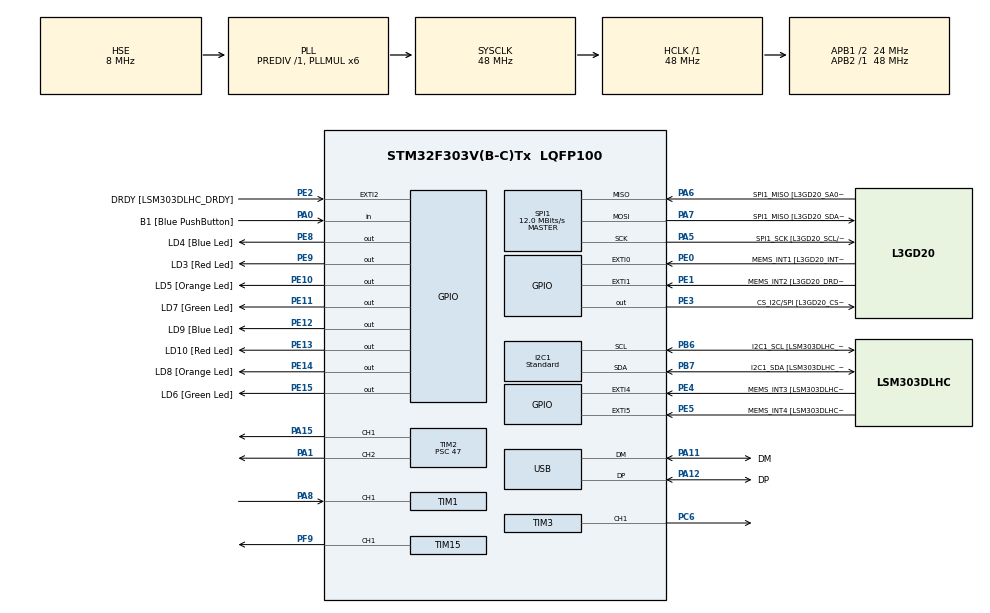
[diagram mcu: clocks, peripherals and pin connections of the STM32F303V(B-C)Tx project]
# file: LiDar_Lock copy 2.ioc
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I2C1.I2C_Speed_Mode=I2C_Standard
I2C1.Speed=100
I2C1.Timing-I2C=0x2000090E
Mcu.Family=STM32F3
Mcu.Name=STM32F303V(B-C)Tx
Mcu.Package=LQFP100
NVIC.PriorityGroup=NVIC_PRIORITYGROUP_0
NVIC.TIM1_CC_IRQn=true\:0\:0\:false\:false\:true\:true\:true\:true
NVIC.TIM2_IRQn=true\:0\:0\:false\:false\:true\:true\:true\:true
PA0.GPIO_Label=B1 [Blue PushButton]
PA0.Signal=GPIO_Input
PA1.Signal=S_TIM2_CH2
PA11.GPIO_Label=DM
PA11.Mode=Device
PA11.Signal=USB_DM
PA12.GPIO_Label=DP
PA12.Mode=Device
PA12.Signal=USB_DP
PA13.GPIO_Label=SWDIO
PA13.Mode=Serial_Wire
PA13.Signal=SYS_JTMS-SWDIO
PA14.GPIO_Label=SWCLK
PA14.Mode=Serial_Wire
PA14.Signal=SYS_JTCK-SWCLK
PA15.Signal=S_TIM2_CH1_ETR
PA5.GPIO_Label=SPI1_SCK [L3GD20_SCL/SPC]
PA5.Mode=Full_Duplex_Master
PA5.Signal=SPI1_SCK
PA6.GPIO_Label=SPI1_MISO [L3GD20_SA0/SDO]
PA6.Mode=Full_Duplex_Master
PA6.Signal=SPI1_MISO
PA7.GPIO_Label=SPI1_MISO [L3GD20_SDA/SDI/SDO]
PA7.Mode=Full_Duplex_Master
PA7.Signal=SPI1_MOSI
PA8.Signal=S_TIM1_CH1
PB3.GPIO_Label=SWO
PB3.Signal=SYS_JTDO-TRACESWO
PB6.GPIO_Label=I2C1_SCL [LSM303DLHC_SCL]
PB6.GPIO_Pu=GPIO_PULLUP
PB6.Mode=I2C
PB6.Signal=I2C1_SCL
PB7.GPIO_Label=I2C1_SDA [LSM303DLHC_SDA]
PB7.GPIO_Pu=GPIO_PULLUP
PB7.Mode=I2C
PB7.Signal=I2C1_SDA
PC14-OSC32_IN.GPIO_Label=OSC32_IN
PC14-OSC32_IN.Signal=RCC_OSC32_IN
PC15-OSC32_OUT.GPIO_Label=OSC32_OUT
PC15-OSC32_OUT.Signal=RCC_OSC32_OUT
PC6.Signal=S_TIM3_CH1
PE0.GPIO_Label=MEMS_INT1 [L3GD20_INT1]
PE0.GPIO_ModeDefaultEXTI=GPIO_MODE_EVT_RISING
PE0.Signal=GPXTI0
PE1.GPIO_Label=MEMS_INT2 [L3GD20_DRDY/INT2]
PE1.GPIO_ModeDefaultEXTI=GPIO_MODE_EVT_RISING
PE1.Signal=GPXTI1
PE10.GPIO_Label=LD5 [Orange Led]
PE10.Signal=GPIO_Output
PE11.GPIO_Label=LD7 [Green Led]
PE11.Signal=GPIO_Output
PE12.GPIO_Label=LD9 [Blue Led]
PE12.Signal=GPIO_Output
PE13.GPIO_Label=LD10 [Red Led]
PE13.Signal=GPIO_Output
PE14.GPIO_Label=LD8 [Orange Led]
PE14.Signal=GPIO_Output
PE15.GPIO_Label=LD6 [Green Led]
PE15.Signal=GPIO_Output
PE2.GPIO_Label=DRDY [LSM303DLHC_DRDY]
PE2.GPIO_ModeDefaultEXTI=GPIO_MODE_EVT_RISING
PE2.Signal=GPXTI2
PE3.GPIO_Label=CS_I2C/SPI [L3GD20_CS_I2C/SPI]
PE3.Signal=GPIO_Output
PE4.GPIO_Label=MEMS_INT3 [LSM303DLHC_INT1]
PE4.GPIO_ModeDefaultEXTI=GPIO_MODE_EVT_RISING
PE4.Signal=GPXTI4
PE5.GPIO_Label=MEMS_INT4 [LSM303DLHC_INT2]
PE5.GPIO_ModeDefaultEXTI=GPIO_MODE_EVT_RISING
PE5.Signal=GPXTI5
PE8.GPIO_Label=LD4 [Blue Led]
PE8.Signal=GPIO_Output
PE9.GPIO_Label=LD3 [Red Led]
PE9.Signal=GPIO_Output
PF0-OSC_IN.GPIO_Label=OSC_IN
PF0-OSC_IN.Mode=HSE-External-Clock-Source
PF0-OSC_IN.Signal=RCC_OSC_IN
PF1-OSC_OUT.GPIO_Label=OSC_OUT
PF1-OSC_OUT.Signal=RCC_OSC_OUT
PF9.Signal=S_TIM15_CH1
ProjectManager.HeapSize=0x200
ProjectManager.StackSize=0x400
ProjectManager.TargetToolchain=STM32CubeIDE
RCC.AHBFreq_Value=48000000
RCC.APB1CLKDivider=RCC_HCLK_DIV2
RCC.APB1Freq_Value=24000000
RCC.APB1TimFreq_Value=48000000
RCC.APB2Freq_Value=48000000
RCC.APB2TimFreq_Value=48000000
RCC.CortexFreq_Value=48000000
RCC.HCLKFreq_Value=48000000
RCC.HSE_VALUE=8000000
RCC.HSI_VALUE=8000000
RCC.LSE_VALUE=32768
RCC.PLLMUL=RCC_PLL_MUL6
RCC.SYSCLKFreq_VALUE=48000000
RCC.SYSCLKSourceVirtual=RCC_SYSCLKSOURCE_PLLCLK
RCC.USBFreq_Value=48000000
SH.S_TIM15_CH1.0=TIM15_CH1,Output Compare1 CH1
SH.S_TIM1_CH1.0=TIM1_CH1,Input_Capture1_from_TI1
SH.S_TIM2_CH1_ETR.0=TIM2_CH1,PWM Generation1 CH1
SH.S_TIM2_CH2.0=TIM2_CH2,PWM Generation2 CH2
SH.S_TIM3_CH1.0=TIM3_CH1,Output Compare1 CH1
SPI1.BaudRatePrescaler=SPI_BAUDRATEPRESCALER_4
SPI1.BaudRatePrescaler-Full_Duplex_Master=SPI_BAUDRATEPRESCALER_2
SPI1.CalculateBaudRate=12.0 MBits/s
SPI1.CalculateBaudRate-Full_Duplex_Master=24.0 MBits/s
SPI1.Direction=SPI_DIRECTION_2LINES
SPI1.Mode=SPI_MODE_MASTER
SPI1.Mode-Full_Duplex_Master=SPI_MODE_MASTER
SPI1.VirtualType=VM_MASTER
TIM1.Channel-Input_Capture1_from_TI1=TIM_CHANNEL_1
TIM1.ICPolarity_CH1=TIM_INPUTCHANNELPOLARITY_BOTHEDGE
TIM1.Prescaler=47
TIM15.Channel-Output\ Compare1\ CH1=TIM_CHANNEL_1
TIM15.Period=9999
TIM15.Prescaler=47999
TIM2.AutoReloadPreload=TIM_AUTORELOAD_PRELOAD_ENABLE
TIM2.Channel-PWM\ Generation1\ CH1=TIM_CHANNEL_1
TIM2.Channel-PWM\ Generation2\ CH2=TIM_CHANNEL_2
TIM2.Period=20000
TIM2.Prescaler=47
TIM2.Pulse-PWM\ Generation1\ CH1=2000
TIM2.Pulse-PWM\ Generation2\ CH2=2000
TIM3.Channel-Output\ Compare1\ CH1=TIM_CHANNEL_1
TIM3.OCMode_1=TIM_OCMODE_TOGGLE
TIM3.Period=3000
TIM3.Prescaler=48000
VP_TIM15_VS_ClockSourceINT.Mode=Internal
VP_TIM1_VS_ClockSourceINT.Mode=Internal
VP_TIM3_VS_ClockSourceINT.Mode=Internal
board=STM32F3DISCOVERY

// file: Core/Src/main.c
/* USER CODE BEGIN Header */
/**
 ******************************************************************************
 * @file           : main.c
 * @brief          : Main program body
 ******************************************************************************
 * @attention
 *
 * Copyright (c) 2023 STMicroelectronics.
 * All rights reserved.
 *
 * This software is licensed under terms that can be found in the LICENSE file
 * in the root directory of this software component.
 * If no LICENSE file comes with this software, it is provided AS-IS.
 *
 ******************************************************************************
 */
/* USER CODE END Header */
#include "main.h"

/* USER CODE BEGIN Includes */

#include "ptu_definitions.h"
#include "ptu_i2c.h"
#include "serial.h"

#include "math.h"

#include "timer.h"
#include "last_period.h"
#include "movement.h"
#include <time.h>
#include <stdio.h>
#include "lock.h"

/* USER CODE END Includes */

I2C_HandleTypeDef hi2c1;

SPI_HandleTypeDef hspi1;

TIM_HandleTypeDef htim1;
TIM_HandleTypeDef htim2;
TIM_HandleTypeDef htim3;
TIM_HandleTypeDef htim15;

PCD_HandleTypeDef hpcd_USB_FS;

int x = 1;

/* USER CODE BEGIN PV */
uint8_t *led_register = ((uint8_t*)&(GPIOE->ODR)) + 1;
/* USER CODE END PV */

void SystemClock_Config(void);
static void MX_GPIO_Init(void);
static void MX_I2C1_Init(void);
static void MX_SPI1_Init(void);
static void MX_USB_PCD_Init(void);
static void MX_TIM2_Init(void);
static void MX_TIM1_Init(void);
static void MX_TIM3_Init(void);
static void MX_TIM15_Init(void);

/* USER CODE BEGIN 0 */

// enable the clocks for desired peripherals (GPIOA, C and E)
void enable_clocks() {
	RCC->AHBENR |= RCC_AHBENR_GPIOAEN | RCC_AHBENR_GPIOCEN | RCC_AHBENR_GPIOEEN;
}

// initialise the discovery board I/O (just outputs: inputs are selected by default)
void initialise_board() {
	// get a pointer to the second half word of the MODER register (for outputs pe8-15)
	uint16_t *led_output_registers = ((uint16_t *)&(GPIOE->MODER)) + 1;
	*led_output_registers = 0x5555;
}

uint16_t last_capture = 0;
uint16_t diff = 0;

uint16_t rise_time = 0;
uint16_t last_period = 0;

int16_t lidar_distance = 0;
uint16_t lidar_ranges = 0;
int16_t roll_rate = 0;
int16_t pitch_rate = 0;
int16_t yaw_rate = 0;

void HAL_TIM_IC_CaptureCallback(TIM_HandleTypeDef *htim);

void movement(float v[2], float yaw, float pitch);

int y = 1;
int highfive;

void lock1(int *y);
void lock2(int *y);
void lock3(int *y);

volatile uint8_t delayComplete = 0;

TIM_HandleTypeDef htim; // Declare your timer handle
uint32_t pwmCaptureValue; // Variable to store the captured PWM value

// Function to read PWM input capture value
void readPWMInputCapture()
{
    pwmCaptureValue = HAL_TIM_ReadCapturedValue(&htim, TIM_CHANNEL_1); // Replace X with the appropriate channel number
}

/* USER CODE END 0 */

int main(void)
{
  /* USER CODE BEGIN 1 */

	uint8_t string_to_send[100] = "This is a string !\r\n";

	enable_clocks();
	initialise_board();

	SerialInitialise(BAUD_115200, &USART1_PORT, 0x00);

	HAL_StatusTypeDef return_value = 0x00;

	volatile uint16_t vertical_PWM = 1000;
	volatile uint16_t horizontal_PWM = 1000;

  /* USER CODE END 1 */

  /* MCU Configuration--------------------------------------------------------*/

  /* Reset of all peripherals, Initializes the Flash interface and the Systick. */
  HAL_Init();

  /* Configure the system clock */
  SystemClock_Config();

  /* Initialize all configured peripherals */
  MX_GPIO_Init();
  MX_I2C1_Init();
  MX_SPI1_Init();
  MX_USB_PCD_Init();
  MX_TIM2_Init();
  MX_TIM1_Init();
  MX_TIM3_Init();
  MX_TIM15_Init();
  /* USER CODE BEGIN 2 */

  //Timers are started

	HAL_TIM_PWM_Start(&htim2, TIM_CHANNEL_1);
	HAL_TIM_PWM_Start(&htim2, TIM_CHANNEL_2);

	HAL_TIM_IC_Start_IT(&htim1, TIM_CHANNEL_1);

    HAL_TIM_OC_Start_IT(&htim3, TIM_CHANNEL_1);
    HAL_TIM_OC_Start_IT(&htim15, TIM_CHANNEL_1);

	// TIM 2 is setup with a prescaler that makes 1 count = 1 microsecond
	// Even with HAL, you can still set the values yourself
	TIM2->ARR = 20000; // 20000 = 20ms, which is the desired clock period for servos
	TIM2->CR1 |= TIM_CR1_ARPE; // this makes the timing not change until the next pulse is finished

	// note: for PWM if you continually change the clock period
	// you can get unexpected results. To remove this, set ARPE so that the
	// ARR settings are not activated until the next cycle.

	initialise_ptu_i2c(&hi2c1);

  /* USER CODE END 2 */

  /* Infinite loop */
  /* USER CODE BEGIN WHILE */

//	// reset lidar board
//	uint8_t reset_value = 0x00;
//	return_value = HAL_I2C_Mem_Write(&hi2c1, LIDAR_WR, 0x00, 1, &reset_value, 1, 10);

	// delay for initialisation of the lidar
	HAL_Delay(100);

	while (1)
	{
//
		movement(v, 96, 98);
		HAL_Delay(500);

		//Reading gyro values from imu using i2c
		uint8_t xMSB = 0x00;
		HAL_I2C_Mem_Read(&hi2c1,gyro_rd, 0x29, 1, &xMSB, 1, 10);
		uint8_t xLSB = 0x00;
		HAL_I2C_Mem_Read(&hi2c1,gyro_rd, 0x28, 1, &xLSB, 1, 10);

		int16_t yaw_rate = ((xMSB << 8) | xLSB);

		uint8_t yMSB = 0x00;
		HAL_I2C_Mem_Read(&hi2c1,gyro_rd, 0x2B, 1, &yMSB, 1, 10);
		uint8_t yLSB = 0x00;
		HAL_I2C_Mem_Read(&hi2c1,gyro_rd, 0x2A, 1, &yLSB, 1, 10);

		int16_t pitch_rate = ((yMSB << 8) | yLSB);

		uint8_t zMSB = 0x00;
		HAL_I2C_Mem_Read(&hi2c1,gyro_rd, 0x2D, 1, &zMSB, 1, 10);
		uint8_t zLSB = 0x00;
		HAL_I2C_Mem_Read(&hi2c1,gyro_rd, 0x2C, 1, &zLSB, 1, 10);

		int16_t roll_rate = ((zMSB << 8) | zLSB);

		volatile int read_values_now = 0;

		//Last_period values are limited to 4000. If last_period is above 4000 then it is then set to 5000.
		if (last_period > 4000)
			last_period = 5000;
		if (lidar_distance > 4000)
			lidar_distance = 5500;

		sprintf(string_to_send, "%u,%hd,%hd,%hd\r\n", last_period,roll_rate, pitch_rate, yaw_rate);
		SerialOutputString(string_to_send, &USART1_PORT);

		//constant value is set so that the comparison value doesn't change
		const uint32_t time = TIM3->CNT;

		int x = 0;

		/*The while reads for a high five. In which case the high five from the user has to be at a last period distance of 5 to 250
		 * the threshold is set because there was noise within the last period values
		 */
		while (last_period >= 5 && last_period <= 250)
		{
			//using an output compare to know when a 3 second high five has been performed
			uint32_t delayCounts = 3000; // Assuming timer counts at 1 kHz
			uint32_t targetCount = time + delayCounts;

			/*A target and is then manipulate to stay within the auto-reload. Hence the auto reload is subtracted from the target count
			 * an addition 0.5 is subtracted to ensure the target count is less than the auto-reload*/
			if (targetCount > TIM3->ARR)
			{
				targetCount = targetCount - (TIM3->ARR+0.5);
			}

			//an led time is set so the 8 LED lights light up at equal timesteps
			//

			int LED_time = time + (delayCounts/8)*x;
			if (LED_time >  TIM3->ARR)
			{
				LED_time = LED_time - (TIM3->ARR+0.5);
			}

			//Led's light up in a circle. Like a circle of death
			if (TIM3->CNT == LED_time)
			{
				*led_register |= (0b00000001 << x);   // Set the bit corresponding to LED x
				x++;
			}

			//if statement runs when the hand is held for three seconds
		    if(TIM3->CNT == targetCount)
		    {
				const uint32_t lock_timer = TIM15->CNT;

				//while loops only runs if all three locks haven't been completed
		    	while (y != 4)
		    	{
					uint32_t lock_delay = 10000;
					uint32_t lock_target = lock_timer + lock_delay; //comparison value

					if (lock_target > TIM15->ARR +1)
					{
						lock_target = lock_target - (TIM15->ARR+1.5);
					}
					*led_register = 0;

					/*the user must enter the specific range corresponding to the distance set in each lock.
					 * The user only has a maximum of 10 seconds to place an object within the lidar sensor in total for all
					 * locks or else the program will return to the first lock ('else' statement)*/
					if (TIM15->CNT != lock_target)
					{
						if (y == 1) {
							sprintf(string_to_send,"%u,%u\r\n",TIM15->CNT,lock_target);
							SerialOutputString(string_to_send, &USART1_PORT);
							lock1(&y);
						}
						else if (y == 2) {
							sprintf(string_to_send,"%u,%u\r\n",TIM15->CNT,lock_target);
							SerialOutputString(string_to_send, &USART1_PORT);
							lock2(&y);
						}
						else if (y==3)
						{
							sprintf(string_to_send,"%u,%u,%u\r\n",TIM15->CNT,lock_target,last_period);
							SerialOutputString(string_to_send, &USART1_PORT);
							lock3(&y);
						}

					}
					//
					else
					{
						*led_register = 0b01010101;
						HAL_Delay(1000);
						movement(v, 180, 98);
						HAL_Delay(1000);
						movement(v, 96, 98);
						HAL_Delay(1000);
						y= 1;
						break;
					}
		    	}
		    }
	    }
		*led_register = 0;

	}

    /* USER CODE END WHILE */

}

void SystemClock_Config(void)
{
  RCC_OscInitTypeDef RCC_OscInitStruct = {0};
  RCC_ClkInitTypeDef RCC_ClkInitStruct = {0};
  RCC_PeriphCLKInitTypeDef PeriphClkInit = {0};

  /** Initializes the RCC Oscillators according to the specified parameters
  * in the RCC_OscInitTypeDef structure.
  */
  RCC_OscInitStruct.OscillatorType = RCC_OSCILLATORTYPE_HSI|RCC_OSCILLATORTYPE_HSE;
  RCC_OscInitStruct.HSEState = RCC_HSE_BYPASS;
  RCC_OscInitStruct.HSEPredivValue = RCC_HSE_PREDIV_DIV1;
  RCC_OscInitStruct.HSIState = RCC_HSI_ON;
  RCC_OscInitStruct.HSICalibrationValue = RCC_HSICALIBRATION_DEFAULT;
  RCC_OscInitStruct.PLL.PLLState = RCC_PLL_ON;
  RCC_OscInitStruct.PLL.PLLSource = RCC_PLLSOURCE_HSE;
  RCC_OscInitStruct.PLL.PLLMUL = RCC_PLL_MUL6;
  if (HAL_RCC_OscConfig(&RCC_OscInitStruct) != HAL_OK)
  {
    Error_Handler();
  }

  /** Initializes the CPU, AHB and APB buses clocks
  */
  RCC_ClkInitStruct.ClockType = RCC_CLOCKTYPE_HCLK|RCC_CLOCKTYPE_SYSCLK
                              |RCC_CLOCKTYPE_PCLK1|RCC_CLOCKTYPE_PCLK2;
  RCC_ClkInitStruct.SYSCLKSource = RCC_SYSCLKSOURCE_PLLCLK;
  RCC_ClkInitStruct.AHBCLKDivider = RCC_SYSCLK_DIV1;
  RCC_ClkInitStruct.APB1CLKDivider = RCC_HCLK_DIV2;
  RCC_ClkInitStruct.APB2CLKDivider = RCC_HCLK_DIV1;

  if (HAL_RCC_ClockConfig(&RCC_ClkInitStruct, FLASH_LATENCY_1) != HAL_OK)
  {
    Error_Handler();
  }
  PeriphClkInit.PeriphClockSelection = RCC_PERIPHCLK_USB|RCC_PERIPHCLK_I2C1
                              |RCC_PERIPHCLK_TIM1;
  PeriphClkInit.I2c1ClockSelection = RCC_I2C1CLKSOURCE_HSI;
  PeriphClkInit.USBClockSelection = RCC_USBCLKSOURCE_PLL;
  PeriphClkInit.Tim1ClockSelection = RCC_TIM1CLK_HCLK;
  if (HAL_RCCEx_PeriphCLKConfig(&PeriphClkInit) != HAL_OK)
  {
    Error_Handler();
  }
}

static void MX_I2C1_Init(void)
{

  hi2c1.Instance = I2C1;
  hi2c1.Init.Timing = 0x2000090E;
  hi2c1.Init.OwnAddress1 = 0;
  hi2c1.Init.AddressingMode = I2C_ADDRESSINGMODE_7BIT;
  hi2c1.Init.DualAddressMode = I2C_DUALADDRESS_DISABLE;
  hi2c1.Init.OwnAddress2 = 0;
  hi2c1.Init.OwnAddress2Masks = I2C_OA2_NOMASK;
  hi2c1.Init.GeneralCallMode = I2C_GENERALCALL_DISABLE;
  hi2c1.Init.NoStretchMode = I2C_NOSTRETCH_DISABLE;
  if (HAL_I2C_Init(&hi2c1) != HAL_OK)
  {
    Error_Handler();
  }

  /** Configure Analogue filter
  */
  if (HAL_I2CEx_ConfigAnalogFilter(&hi2c1, I2C_ANALOGFILTER_ENABLE) != HAL_OK)
  {
    Error_Handler();
  }

  /** Configure Digital filter
  */
  if (HAL_I2CEx_ConfigDigitalFilter(&hi2c1, 0) != HAL_OK)
  {
    Error_Handler();
  }

}

static void MX_SPI1_Init(void)
{

  /* SPI1 parameter configuration*/
  hspi1.Instance = SPI1;
  hspi1.Init.Mode = SPI_MODE_MASTER;
  hspi1.Init.Direction = SPI_DIRECTION_2LINES;
  hspi1.Init.DataSize = SPI_DATASIZE_4BIT;
  hspi1.Init.CLKPolarity = SPI_POLARITY_LOW;
  hspi1.Init.CLKPhase = SPI_PHASE_1EDGE;
  hspi1.Init.NSS = SPI_NSS_SOFT;
  hspi1.Init.BaudRatePrescaler = SPI_BAUDRATEPRESCALER_4;
  hspi1.Init.FirstBit = SPI_FIRSTBIT_MSB;
  hspi1.Init.TIMode = SPI_TIMODE_DISABLE;
  hspi1.Init.CRCCalculation = SPI_CRCCALCULATION_DISABLE;
  hspi1.Init.CRCPolynomial = 7;
  hspi1.Init.CRCLength = SPI_CRC_LENGTH_DATASIZE;
  hspi1.Init.NSSPMode = SPI_NSS_PULSE_ENABLE;
  if (HAL_SPI_Init(&hspi1) != HAL_OK)
  {
    Error_Handler();
  }

}

static void MX_TIM1_Init(void)
{

  TIM_ClockConfigTypeDef sClockSourceConfig = {0};
  TIM_MasterConfigTypeDef sMasterConfig = {0};
  TIM_IC_InitTypeDef sConfigIC = {0};

  htim1.Instance = TIM1;
  htim1.Init.Prescaler = 47;
  htim1.Init.CounterMode = TIM_COUNTERMODE_UP;
  htim1.Init.Period = 65535;
  htim1.Init.ClockDivision = TIM_CLOCKDIVISION_DIV1;
  htim1.Init.RepetitionCounter = 0;
  htim1.Init.AutoReloadPreload = TIM_AUTORELOAD_PRELOAD_DISABLE;
  if (HAL_TIM_Base_Init(&htim1) != HAL_OK)
  {
    Error_Handler();
  }
  sClockSourceConfig.ClockSource = TIM_CLOCKSOURCE_INTERNAL;
  if (HAL_TIM_ConfigClockSource(&htim1, &sClockSourceConfig) != HAL_OK)
  {
    Error_Handler();
  }
  if (HAL_TIM_IC_Init(&htim1) != HAL_OK)
  {
    Error_Handler();
  }
  sMasterConfig.MasterOutputTrigger = TIM_TRGO_RESET;
  sMasterConfig.MasterOutputTrigger2 = TIM_TRGO2_RESET;
  sMasterConfig.MasterSlaveMode = TIM_MASTERSLAVEMODE_DISABLE;
  if (HAL_TIMEx_MasterConfigSynchronization(&htim1, &sMasterConfig) != HAL_OK)
  {
    Error_Handler();
  }
  sConfigIC.ICPolarity = TIM_INPUTCHANNELPOLARITY_BOTHEDGE;
  sConfigIC.ICSelection = TIM_ICSELECTION_DIRECTTI;
  sConfigIC.ICPrescaler = TIM_ICPSC_DIV1;
  sConfigIC.ICFilter = 0;
  if (HAL_TIM_IC_ConfigChannel(&htim1, &sConfigIC, TIM_CHANNEL_1) != HAL_OK)
  {
    Error_Handler();
  }

}

static void MX_TIM2_Init(void)
{

  TIM_MasterConfigTypeDef sMasterConfig = {0};
  TIM_OC_InitTypeDef sConfigOC = {0};

  htim2.Instance = TIM2;
  htim2.Init.Prescaler = 47;
  htim2.Init.CounterMode = TIM_COUNTERMODE_UP;
  htim2.Init.Period = 20000;
  htim2.Init.ClockDivision = TIM_CLOCKDIVISION_DIV1;
  htim2.Init.AutoReloadPreload = TIM_AUTORELOAD_PRELOAD_ENABLE;
  if (HAL_TIM_PWM_Init(&htim2) != HAL_OK)
  {
    Error_Handler();
  }
  sMasterConfig.MasterOutputTrigger = TIM_TRGO_RESET;
  sMasterConfig.MasterSlaveMode = TIM_MASTERSLAVEMODE_DISABLE;
  if (HAL_TIMEx_MasterConfigSynchronization(&htim2, &sMasterConfig) != HAL_OK)
  {
    Error_Handler();
  }
  sConfigOC.OCMode = TIM_OCMODE_PWM1;
  sConfigOC.Pulse = 2000;
  sConfigOC.OCPolarity = TIM_OCPOLARITY_HIGH;
  sConfigOC.OCFastMode = TIM_OCFAST_DISABLE;
  if (HAL_TIM_PWM_ConfigChannel(&htim2, &sConfigOC, TIM_CHANNEL_1) != HAL_OK)
  {
    Error_Handler();
  }
  if (HAL_TIM_PWM_ConfigChannel(&htim2, &sConfigOC, TIM_CHANNEL_2) != HAL_OK)
  {
    Error_Handler();
  }
  HAL_TIM_MspPostInit(&htim2);

}

static void MX_TIM3_Init(void)
{

  TIM_ClockConfigTypeDef sClockSourceConfig = {0};
  TIM_MasterConfigTypeDef sMasterConfig = {0};
  TIM_OC_InitTypeDef sConfigOC = {0};

  htim3.Instance = TIM3;
  htim3.Init.Prescaler = 48000;
  htim3.Init.CounterMode = TIM_COUNTERMODE_UP;
  htim3.Init.Period = 3000;
  htim3.Init.ClockDivision = TIM_CLOCKDIVISION_DIV1;
  htim3.Init.AutoReloadPreload = TIM_AUTORELOAD_PRELOAD_DISABLE;
  if (HAL_TIM_Base_Init(&htim3) != HAL_OK)
  {
    Error_Handler();
  }
  sClockSourceConfig.ClockSource = TIM_CLOCKSOURCE_INTERNAL;
  if (HAL_TIM_ConfigClockSource(&htim3, &sClockSourceConfig) != HAL_OK)
  {
    Error_Handler();
  }
  if (HAL_TIM_OC_Init(&htim3) != HAL_OK)
  {
    Error_Handler();
  }
  sMasterConfig.MasterOutputTrigger = TIM_TRGO_RESET;
  sMasterConfig.MasterSlaveMode = TIM_MASTERSLAVEMODE_DISABLE;
  if (HAL_TIMEx_MasterConfigSynchronization(&htim3, &sMasterConfig) != HAL_OK)
  {
    Error_Handler();
  }
  sConfigOC.OCMode = TIM_OCMODE_TOGGLE;
  sConfigOC.Pulse = 0;
  sConfigOC.OCPolarity = TIM_OCPOLARITY_HIGH;
  sConfigOC.OCFastMode = TIM_OCFAST_DISABLE;
  if (HAL_TIM_OC_ConfigChannel(&htim3, &sConfigOC, TIM_CHANNEL_1) != HAL_OK)
  {
    Error_Handler();
  }
  HAL_TIM_MspPostInit(&htim3);

}

static void MX_TIM15_Init(void)
{

  TIM_ClockConfigTypeDef sClockSourceConfig = {0};
  TIM_MasterConfigTypeDef sMasterConfig = {0};
  TIM_OC_InitTypeDef sConfigOC = {0};
  TIM_BreakDeadTimeConfigTypeDef sBreakDeadTimeConfig = {0};

  htim15.Instance = TIM15;
  htim15.Init.Prescaler = 47999;
  htim15.Init.CounterMode = TIM_COUNTERMODE_UP;
  htim15.Init.Period = 9999;
  htim15.Init.ClockDivision = TIM_CLOCKDIVISION_DIV1;
  htim15.Init.RepetitionCounter = 0;
  htim15.Init.AutoReloadPreload = TIM_AUTORELOAD_PRELOAD_DISABLE;
  if (HAL_TIM_Base_Init(&htim15) != HAL_OK)
  {
    Error_Handler();
  }
  sClockSourceConfig.ClockSource = TIM_CLOCKSOURCE_INTERNAL;
  if (HAL_TIM_ConfigClockSource(&htim15, &sClockSourceConfig) != HAL_OK)
  {
    Error_Handler();
  }
  if (HAL_TIM_OC_Init(&htim15) != HAL_OK)
  {
    Error_Handler();
  }
  sMasterConfig.MasterOutputTrigger = TIM_TRGO_RESET;
  sMasterConfig.MasterSlaveMode = TIM_MASTERSLAVEMODE_DISABLE;
  if (HAL_TIMEx_MasterConfigSynchronization(&htim15, &sMasterConfig) != HAL_OK)
  {
    Error_Handler();
  }
  sConfigOC.OCMode = TIM_OCMODE_TIMING;
  sConfigOC.Pulse = 0;
  sConfigOC.OCPolarity = TIM_OCPOLARITY_HIGH;
  sConfigOC.OCNPolarity = TIM_OCNPOLARITY_HIGH;
  sConfigOC.OCFastMode = TIM_OCFAST_DISABLE;
  sConfigOC.OCIdleState = TIM_OCIDLESTATE_RESET;
  sConfigOC.OCNIdleState = TIM_OCNIDLESTATE_RESET;
  if (HAL_TIM_OC_ConfigChannel(&htim15, &sConfigOC, TIM_CHANNEL_1) != HAL_OK)
  {
    Error_Handler();
  }
  sBreakDeadTimeConfig.OffStateRunMode = TIM_OSSR_DISABLE;
  sBreakDeadTimeConfig.OffStateIDLEMode = TIM_OSSI_DISABLE;
  sBreakDeadTimeConfig.LockLevel = TIM_LOCKLEVEL_OFF;
  sBreakDeadTimeConfig.DeadTime = 0;
  sBreakDeadTimeConfig.BreakState = TIM_BREAK_DISABLE;
  sBreakDeadTimeConfig.BreakPolarity = TIM_BREAKPOLARITY_HIGH;
  sBreakDeadTimeConfig.BreakFilter = 0;
  sBreakDeadTimeConfig.AutomaticOutput = TIM_AUTOMATICOUTPUT_DISABLE;
  if (HAL_TIMEx_ConfigBreakDeadTime(&htim15, &sBreakDeadTimeConfig) != HAL_OK)
  {
    Error_Handler();
  }
  HAL_TIM_MspPostInit(&htim15);

}

static void MX_USB_PCD_Init(void)
{

  hpcd_USB_FS.Instance = USB;
  hpcd_USB_FS.Init.dev_endpoints = 8;
  hpcd_USB_FS.Init.speed = PCD_SPEED_FULL;
  hpcd_USB_FS.Init.phy_itface = PCD_PHY_EMBEDDED;
  hpcd_USB_FS.Init.low_power_enable = DISABLE;
  hpcd_USB_FS.Init.battery_charging_enable = DISABLE;
  if (HAL_PCD_Init(&hpcd_USB_FS) != HAL_OK)
  {
    Error_Handler();
  }

}

static void MX_GPIO_Init(void)
{
  GPIO_InitTypeDef GPIO_InitStruct = {0};

  /* GPIO Ports Clock Enable */
  __HAL_RCC_GPIOE_CLK_ENABLE();
  __HAL_RCC_GPIOC_CLK_ENABLE();
  __HAL_RCC_GPIOF_CLK_ENABLE();
  __HAL_RCC_GPIOA_CLK_ENABLE();
  __HAL_RCC_GPIOB_CLK_ENABLE();

  /*Configure GPIO pin Output Level */
  HAL_GPIO_WritePin(GPIOE, CS_I2C_SPI_Pin|LD4_Pin|LD3_Pin|LD5_Pin
                          |LD7_Pin|LD9_Pin|LD10_Pin|LD8_Pin
                          |LD6_Pin, GPIO_PIN_RESET);

  /*Configure GPIO pins : DRDY_Pin MEMS_INT3_Pin MEMS_INT4_Pin MEMS_INT1_Pin
                           MEMS_INT2_Pin */
  GPIO_InitStruct.Pin = DRDY_Pin|MEMS_INT3_Pin|MEMS_INT4_Pin|MEMS_INT1_Pin
                          |MEMS_INT2_Pin;
  GPIO_InitStruct.Mode = GPIO_MODE_EVT_RISING;
  GPIO_InitStruct.Pull = GPIO_NOPULL;
  HAL_GPIO_Init(GPIOE, &GPIO_InitStruct);

  /*Configure GPIO pins : CS_I2C_SPI_Pin LD4_Pin LD3_Pin LD5_Pin
                           LD7_Pin LD9_Pin LD10_Pin LD8_Pin
                           LD6_Pin */
  GPIO_InitStruct.Pin = CS_I2C_SPI_Pin|LD4_Pin|LD3_Pin|LD5_Pin
                          |LD7_Pin|LD9_Pin|LD10_Pin|LD8_Pin
                          |LD6_Pin;
  GPIO_InitStruct.Mode = GPIO_MODE_OUTPUT_PP;
  GPIO_InitStruct.Pull = GPIO_NOPULL;
  GPIO_InitStruct.Speed = GPIO_SPEED_FREQ_LOW;
  HAL_GPIO_Init(GPIOE, &GPIO_InitStruct);

  /*Configure GPIO pin : B1_Pin */
  GPIO_InitStruct.Pin = B1_Pin;
  GPIO_InitStruct.Mode = GPIO_MODE_INPUT;
  GPIO_InitStruct.Pull = GPIO_NOPULL;
  HAL_GPIO_Init(B1_GPIO_Port, &GPIO_InitStruct);

}

void Error_Handler(void)
{
	__disable_irq();
	while (1)
	{
	}
}
